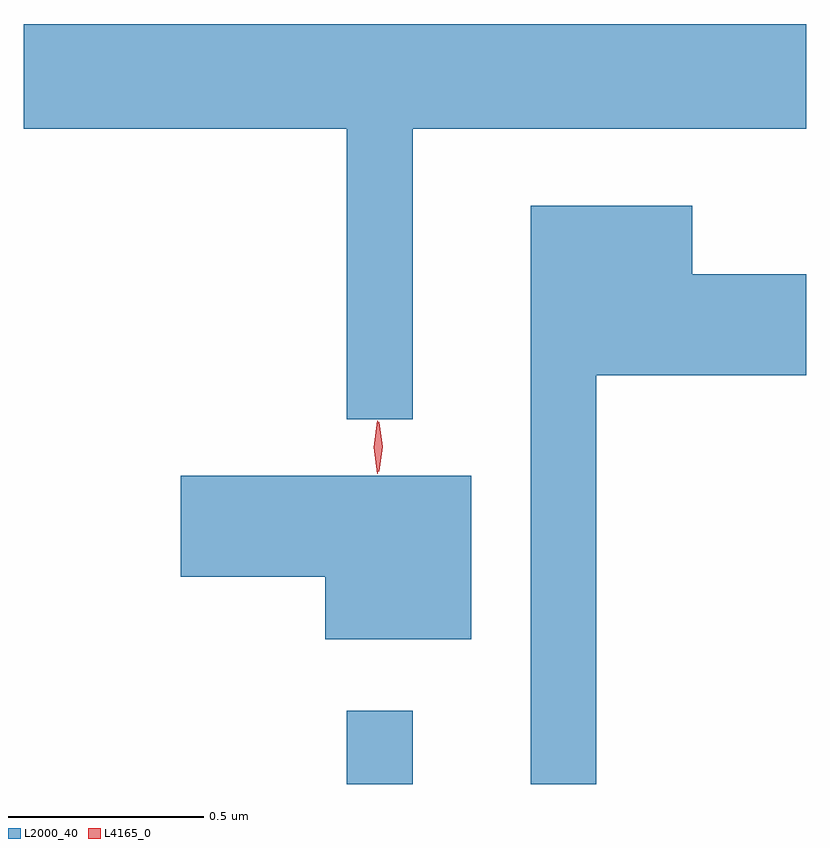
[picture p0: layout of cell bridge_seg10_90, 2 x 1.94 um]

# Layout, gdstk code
import gdstk
lib = gdstk.Library(unit=1e-6, precision=1e-09)
def R(c, l, rs):  # rectangles x0, y0, x1, y1
    for r in rs: c.add(gdstk.rectangle(r[:2], r[2:], *l))
def P(c, l, *ps):  # polygons
    for p in ps: c.add(gdstk.Polygon(p, *l))
L2000_40 = (2000, 40)
L4165_0 = (4165, 0)

bridge_seg10_90 = lib.new_cell('bridge_seg10_90')
R(bridge_seg10_90, L2000_40, [(1497.771,2209.921,1497.939,2210.108)])
P(bridge_seg10_90, L2000_40, [(1497.939,2211.596),(1498.945,2211.596),(1498.945,2211.864),(1496.945,2211.864),(1496.945,2211.596),(1497.771,2211.596),(1497.771,2210.853),(1497.939,2210.853)],
  [(1498.409,2210.966),(1498.945,2210.966),(1498.945,2211.224),(1498.654,2211.224),(1498.654,2211.399),(1498.241,2211.399),(1498.241,2209.921),(1498.409,2209.921)],
  [(1498.089,2210.709),(1497.346,2210.709),(1497.346,2210.451),(1497.716,2210.451),(1497.716,2210.291),(1498.089,2210.291)])
P(bridge_seg10_90, L4165_0, [(1497.852,2210.72),(1497.852,2210.72),(1497.842,2210.783),(1497.852,2210.846),(1497.852,2210.847),(1497.853,2210.846),(1497.862,2210.783),(1497.853,2210.72)],
  [(1497.849,2210.714),(1497.849,2210.714),(1497.839,2210.782),(1497.849,2210.85),(1497.849,2210.85),(1497.85,2210.85),(1497.859,2210.782),(1497.85,2210.714)])

lib.write_gds('bridge_seg10_90.gds')
